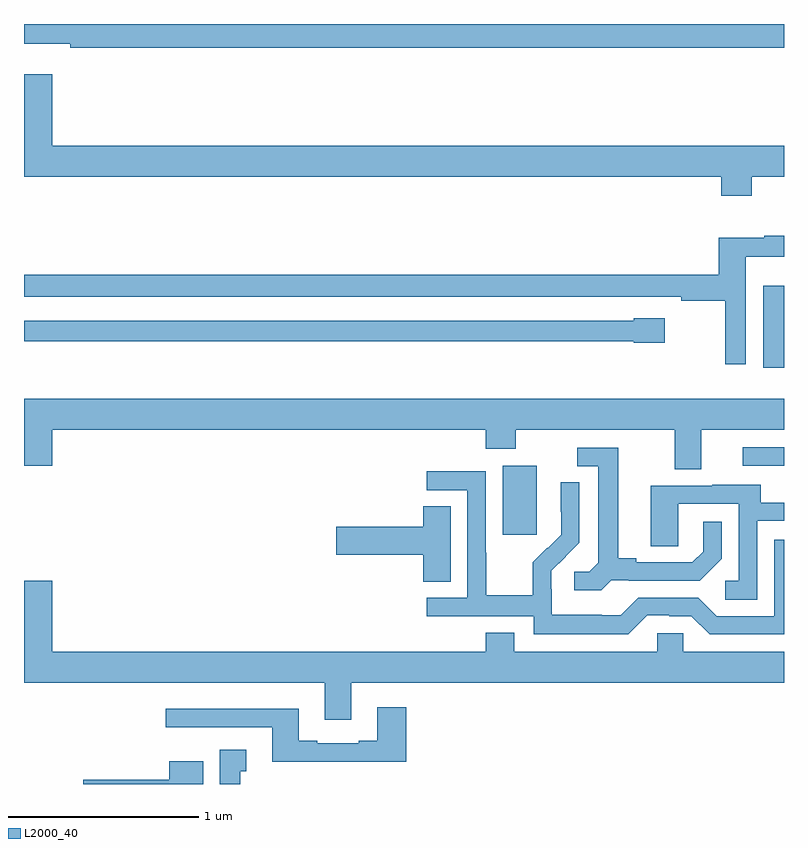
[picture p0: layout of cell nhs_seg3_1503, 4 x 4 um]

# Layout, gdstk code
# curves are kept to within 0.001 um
import gdstk
lib = gdstk.Library(unit=1e-6, precision=1e-09)
def R(c, l, rs):  # rectangles x0, y0, x1, y1
    for r in rs: c.add(gdstk.rectangle(r[:2], r[2:], *l))
def P(c, l, *ps):  # polygons
    for p in ps: c.add(gdstk.Polygon(p, *l))
L2000_40 = (2000, 40)

nhs_seg3_1503 = lib.new_cell('nhs_seg3_1503')
R(nhs_seg3_1503, L2000_40, [(191.519,685.713,191.698,686.074), (192.783,686.076,193,686.172), (192.89,686.592,193,687.022)])
P(nhs_seg3_1503, L2000_40, [(193,688.4),(189,688.4),(189,688.295),(189.244,688.295),(189.244,688.276),(193,688.276)],
  [(192.831,687.596),(193,687.596),(193,687.76),(189.148,687.76),(189.148,688.135),(189,688.135),(189,687.596),(192.671,687.596),(192.671,687.497),(192.831,687.497)],
  [(192.798,687.176),(193,687.176),(193,687.286),(192.895,687.286),(192.895,687.276),(192.656,687.276),(192.656,687.08),(189,687.08),(189,686.964),(192.46,686.964),(192.46,686.944),(192.69,686.944),(192.69,686.61),(192.798,686.61)],
  [(192.373,686.851),(192.21,686.851),(192.21,686.838),(189,686.838),(189,686.73),(192.21,686.73),(192.21,686.722),(192.373,686.722)],
  [(192.565,686.264),(193,686.264),(193,686.428),(189,686.428),(189,686.076),(189.148,686.076),(189.148,686.264),(191.429,686.264),(191.429,686.165),(191.589,686.165),(191.589,686.264),(192.425,686.264),(192.425,686.056),(192.565,686.056)],
  [(192.09,685.473),(192.184,685.473),(192.184,685.47),(192.556,685.47),(192.672,685.586),(192.672,685.78),(192.575,685.78),(192.575,685.623),(192.518,685.566),(192.223,685.566),(192.223,685.589),(192.127,685.589),(192.127,686.169),(191.913,686.169),(191.913,686.073),(192.023,686.073),(192.023,685.565),(191.976,685.518),(191.895,685.518),(191.895,685.421),(192.038,685.421)],
  [(192.279,685.287),(192.395,685.287),(192.395,685.284),(192.513,685.284),(192.609,685.188),(193,685.188),(193,685.686),(192.948,685.686),(192.948,685.284),(192.645,685.284),(192.549,685.38),(192.234,685.38),(192.141,685.287),(192.041,685.287),(192.041,685.291),(191.778,685.291),(191.778,685.425),(191.776,685.425),(191.776,685.522),(191.922,685.67),(191.922,685.988),(191.826,685.988),(191.826,685.834),(191.828,685.834),(191.828,685.712),(191.757,685.641),(191.754,685.644),(191.677,685.567),(191.677,685.393),(191.433,685.393),(191.433,685.616),(191.43,685.616),(191.43,686.046),(191.121,686.046),(191.121,685.947),(191.334,685.947),(191.334,685.38),(191.121,685.38),(191.121,685.284),(191.682,685.284),(191.682,685.187),(192.179,685.187)],
  [(192.858,685.785),(193,685.785),(193,685.881),(192.877,685.881),(192.877,685.975),(192.623,685.975),(192.623,685.971),(192.299,685.971),(192.299,685.651),(192.444,685.651),(192.444,685.875),(192.762,685.875),(192.762,685.47),(192.69,685.47),(192.69,685.369),(192.858,685.369)],
  [(191.245,685.862),(191.102,685.862),(191.102,685.754),(190.644,685.754),(190.644,685.607),(191.102,685.607),(191.102,685.465),(191.245,685.465)],
  [(190.723,684.932),(193,684.932),(193,685.096),(192.471,685.096),(192.471,685.194),(192.333,685.194),(192.333,685.096),(191.581,685.096),(191.581,685.195),(191.429,685.195),(191.429,685.096),(189.148,685.096),(189.148,685.471),(189,685.471),(189,684.932),(190.583,684.932),(190.583,684.738),(190.723,684.738)],
  [(191.012,684.805),(190.859,684.805),(190.859,684.628),(190.763,684.628),(190.763,684.615),(190.543,684.615),(190.543,684.628),(190.447,684.628),(190.447,684.796),(189.747,684.796),(189.747,684.699),(190.307,684.699),(190.307,684.518),(191.012,684.518)],
  [(190.138,684.467),(190.171,684.467),(190.171,684.58),(190.031,684.58),(190.031,684.4),(190.138,684.4)],
  [(189.943,684.52),(189.764,684.52),(189.764,684.422),(189.312,684.422),(189.312,684.4),(189.943,684.4)])

lib.write_gds('nhs_seg3_1503.gds')
